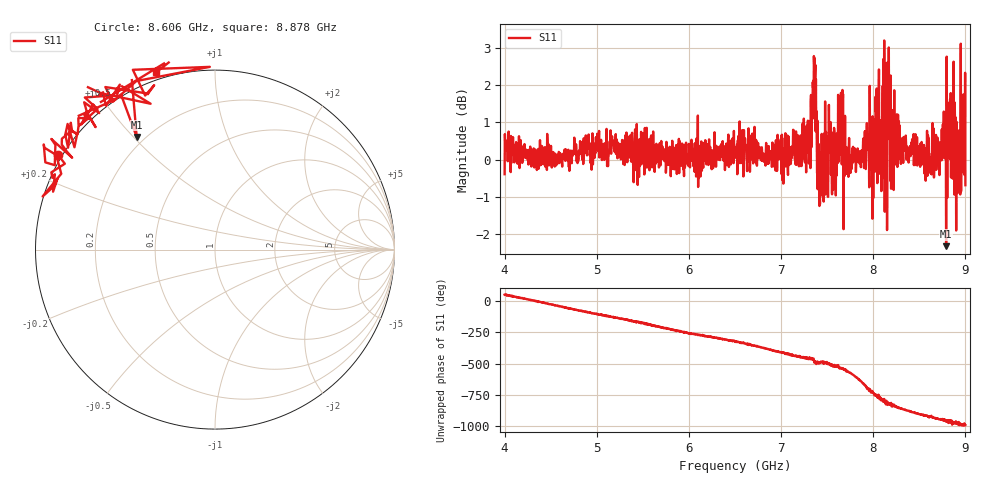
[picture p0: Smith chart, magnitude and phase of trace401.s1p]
! Created with skrf 1.8.0 (http://scikit-rf.org).
# Hz S RI R 50.0
!freq ReS11 ImS11
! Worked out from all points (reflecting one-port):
!   1601 points, 4 GHz to 9 GHz, reference 50 ohm
!   lowest |S11| = -2.3 dB at 8.791 GHz (marker M1), VSWR 7.50, Z = 8.45 + j25.6 ohm
!   phase of S11 starts at 51 deg and turns -1042 deg over the sweep
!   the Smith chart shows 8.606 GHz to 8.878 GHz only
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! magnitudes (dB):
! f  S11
! 4 GHz  -0.4
! 4.028 GHz  0.3
! 4.625 GHz  -0.2
! 4.897 GHz  0.3
! 5.25 GHz  0.2
! 5.875 GHz  0.0
! 6.5 GHz  0.3
! 7.125 GHz  0.2
! 7.294 GHz  0.3
! 7.359 GHz  2.6
! 7.412 GHz  -0.5
! 7.438 GHz  -0.7
! 7.512 GHz  0.1
! 7.578 GHz  0.7
! 7.644 GHz  0.4
! 7.75 GHz  -0.3
! 7.994 GHz  1.2
! 8.038 GHz  1.9
! 8.066 GHz  -0.4
! 8.116 GHz  0.8
! 8.178 GHz  1.7
! 8.216 GHz  0.8
! 8.375 GHz  0.3
! 8.612 GHz  0.1
! 8.791 GHz  -2.3
! 8.919 GHz  -0.2
! 8.972 GHz  0.2
! 9 GHz  -0.7
